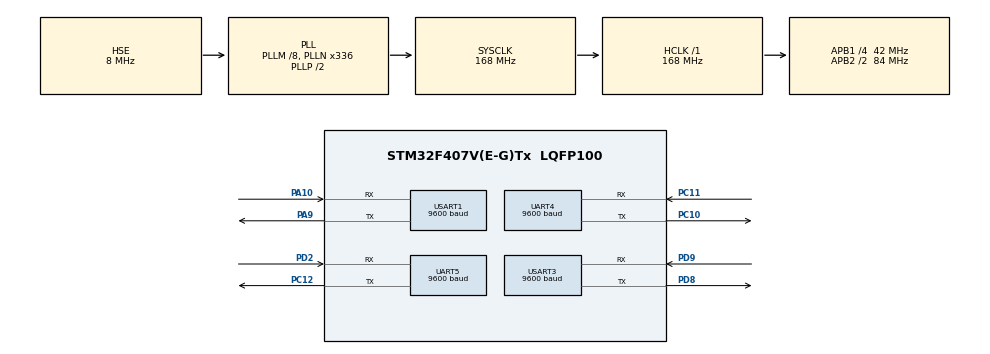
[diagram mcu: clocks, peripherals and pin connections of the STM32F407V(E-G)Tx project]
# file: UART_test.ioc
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Dma.Request0=USART1_RX
Dma.Request1=USART3_RX
Dma.Request2=UART4_RX
Dma.Request3=UART5_RX
Dma.UART4_RX.2.Direction=DMA_PERIPH_TO_MEMORY
Dma.UART4_RX.2.FIFOMode=DMA_FIFOMODE_DISABLE
Dma.UART4_RX.2.Instance=DMA1_Stream2
Dma.UART4_RX.2.MemDataAlignment=DMA_MDATAALIGN_BYTE
Dma.UART4_RX.2.MemInc=DMA_MINC_ENABLE
Dma.UART4_RX.2.Mode=DMA_NORMAL
Dma.UART4_RX.2.PeriphDataAlignment=DMA_PDATAALIGN_BYTE
Dma.UART4_RX.2.PeriphInc=DMA_PINC_DISABLE
Dma.UART4_RX.2.Priority=DMA_PRIORITY_LOW
Dma.UART5_RX.3.Direction=DMA_PERIPH_TO_MEMORY
Dma.UART5_RX.3.FIFOMode=DMA_FIFOMODE_DISABLE
Dma.UART5_RX.3.Instance=DMA1_Stream0
Dma.UART5_RX.3.MemDataAlignment=DMA_MDATAALIGN_BYTE
Dma.UART5_RX.3.MemInc=DMA_MINC_ENABLE
Dma.UART5_RX.3.Mode=DMA_NORMAL
Dma.UART5_RX.3.PeriphDataAlignment=DMA_PDATAALIGN_BYTE
Dma.UART5_RX.3.PeriphInc=DMA_PINC_DISABLE
Dma.UART5_RX.3.Priority=DMA_PRIORITY_LOW
Dma.USART1_RX.0.Direction=DMA_PERIPH_TO_MEMORY
Dma.USART1_RX.0.FIFOMode=DMA_FIFOMODE_DISABLE
Dma.USART1_RX.0.Instance=DMA2_Stream2
Dma.USART1_RX.0.MemDataAlignment=DMA_MDATAALIGN_BYTE
Dma.USART1_RX.0.MemInc=DMA_MINC_ENABLE
Dma.USART1_RX.0.Mode=DMA_NORMAL
Dma.USART1_RX.0.PeriphDataAlignment=DMA_PDATAALIGN_BYTE
Dma.USART1_RX.0.PeriphInc=DMA_PINC_DISABLE
Dma.USART1_RX.0.Priority=DMA_PRIORITY_LOW
Dma.USART3_RX.1.Direction=DMA_PERIPH_TO_MEMORY
Dma.USART3_RX.1.FIFOMode=DMA_FIFOMODE_DISABLE
Dma.USART3_RX.1.Instance=DMA1_Stream1
Dma.USART3_RX.1.MemDataAlignment=DMA_MDATAALIGN_BYTE
Dma.USART3_RX.1.MemInc=DMA_MINC_ENABLE
Dma.USART3_RX.1.Mode=DMA_NORMAL
Dma.USART3_RX.1.PeriphDataAlignment=DMA_PDATAALIGN_BYTE
Dma.USART3_RX.1.PeriphInc=DMA_PINC_DISABLE
Dma.USART3_RX.1.Priority=DMA_PRIORITY_LOW
Mcu.Family=STM32F4
Mcu.Name=STM32F407V(E-G)Tx
Mcu.Package=LQFP100
NVIC.DMA1_Stream0_IRQn=true\:0\:0\:false\:false\:true\:false\:true\:true
NVIC.DMA1_Stream1_IRQn=true\:0\:0\:false\:false\:true\:false\:true\:true
NVIC.DMA1_Stream2_IRQn=true\:0\:0\:false\:false\:true\:false\:true\:true
NVIC.DMA2_Stream2_IRQn=true\:0\:0\:false\:false\:true\:false\:true\:true
NVIC.PriorityGroup=NVIC_PRIORITYGROUP_0
PA10.Mode=Asynchronous
PA10.Signal=USART1_RX
PA9.Mode=Asynchronous
PA9.Signal=USART1_TX
PC10.Mode=Asynchronous
PC10.Signal=UART4_TX
PC11.Mode=Asynchronous
PC11.Signal=UART4_RX
PC12.Mode=Asynchronous
PC12.Signal=UART5_TX
PD2.Mode=Asynchronous
PD2.Signal=UART5_RX
PD8.Mode=Asynchronous
PD8.Signal=USART3_TX
PD9.Mode=Asynchronous
PD9.Signal=USART3_RX
PH0-OSC_IN.Mode=HSE-External-Oscillator
PH0-OSC_IN.Signal=RCC_OSC_IN
PH1-OSC_OUT.Mode=HSE-External-Oscillator
PH1-OSC_OUT.Signal=RCC_OSC_OUT
ProjectManager.HeapSize=0x200
ProjectManager.StackSize=0x400
ProjectManager.TargetToolchain=STM32CubeIDE
RCC.48MHZClocksFreq_Value=48000000
RCC.AHBFreq_Value=168000000
RCC.APB1CLKDivider=RCC_HCLK_DIV4
RCC.APB1Freq_Value=42000000
RCC.APB1TimFreq_Value=84000000
RCC.APB2CLKDivider=RCC_HCLK_DIV2
RCC.APB2Freq_Value=84000000
RCC.APB2TimFreq_Value=168000000
RCC.CortexFreq_Value=168000000
RCC.HCLKFreq_Value=168000000
RCC.HSE_VALUE=8000000
RCC.HSI_VALUE=16000000
RCC.LSE_VALUE=32768
RCC.PLLM=8
RCC.PLLN=336
RCC.PLLQ=7
RCC.PLLSourceVirtual=RCC_PLLSOURCE_HSE
RCC.SYSCLKFreq_VALUE=168000000
RCC.SYSCLKSource=RCC_SYSCLKSOURCE_PLLCLK
RCC.VCOOutputFreq_Value=336000000
UART4.BaudRate=9600
UART4.VirtualMode=Asynchronous
UART5.BaudRate=9600
UART5.VirtualMode=Asynchronous
USART1.BaudRate=9600
USART1.VirtualMode=VM_ASYNC
USART3.BaudRate=9600
USART3.VirtualMode=VM_ASYNC
board=STM32F407G-DISC1

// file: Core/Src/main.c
/* USER CODE BEGIN Header */
/**
 ******************************************************************************
 * @file           : main.c
 * @brief          : Main program body
 ******************************************************************************
 * @attention
 *
 * Copyright (c) 2022 STMicroelectronics.
 * All rights reserved.
 *
 * This software is licensed under terms that can be found in the LICENSE file
 * in the root directory of this software component.
 * If no LICENSE file comes with this software, it is provided AS-IS.
 *
 ******************************************************************************
 */
/* USER CODE END Header */
#include "main.h"

UART_HandleTypeDef huart4;
UART_HandleTypeDef huart5;
UART_HandleTypeDef huart1;
UART_HandleTypeDef huart3;
DMA_HandleTypeDef hdma_uart4_rx;
DMA_HandleTypeDef hdma_uart5_rx;
DMA_HandleTypeDef hdma_usart1_rx;
DMA_HandleTypeDef hdma_usart3_rx;

void SystemClock_Config(void);
static void MX_GPIO_Init(void);
static void MX_DMA_Init(void);
static void MX_USART1_UART_Init(void);
static void MX_USART3_UART_Init(void);
static void MX_UART4_Init(void);
static void MX_UART5_Init(void);

/* USER CODE BEGIN 0 */
uint8_t checkchar[5] = { 'U', 'A', 'R', 'T', '1' };
uint8_t inarray[5];
uint8_t outarray[13];
uint8_t uartchannel = 3;
int datareceiveflag = 0;
void channelchange() {
	for (int i = 0; i < 4; i++) {
		/*
		if (checkchar[i] != inarray[i] || (checkchar[i] - 32) != inarray[i]) {
			return;
		}
	}*/
	}
	uartchannel = inarray[4] - 48;

}

void HAL_UART_RxCpltCallback(UART_HandleTypeDef *huart) {

	datareceiveflag = 1;

}
/* USER CODE END 0 */

int main(void)
{

  /* MCU Configuration--------------------------------------------------------*/

  /* Reset of all peripherals, Initializes the Flash interface and the Systick. */
  HAL_Init();

  /* Configure the system clock */
  SystemClock_Config();

  /* Initialize all configured peripherals */
  MX_GPIO_Init();
  MX_DMA_Init();
  MX_USART1_UART_Init();
  MX_USART3_UART_Init();
  MX_UART4_Init();
  MX_UART5_Init();
  /* USER CODE BEGIN 2 */
	HAL_UART_Receive_DMA(&huart3, inarray, 5);

  /* USER CODE END 2 */

  /* Infinite loop */
	while (1) {

    /* USER CODE BEGIN 3 */

		if (datareceiveflag == 1) {
			for (int i = 0; i < 5; i++) {
				outarray[i] = inarray[i];
			}
			outarray[5] = 'F';
			outarray[6] = 'O';
			outarray[7] = 'T';
			outarray[8] = 'O';
			outarray[9] = 'N';
			outarray[10] = 'I';
			outarray[11] = 'K';
			outarray[12] = 'S';

			if (inarray[4] == '1' || inarray[4] == '4' || inarray[4] == '3'
					|| inarray[4] == '5') {
				channelchange();

			}

			if (uartchannel == 1) {
				HAL_UART_Transmit(&huart1, outarray, 13, 1000);
				HAL_UART_Receive_DMA(&huart1, inarray, 5);
			}
			else if (uartchannel == 3) {
				HAL_UART_Transmit(&huart3, outarray, 13, 1000);
				HAL_UART_Receive_DMA(&huart3, inarray, 5);
			}
			else if (uartchannel == 4) {
				HAL_UART_Transmit(&huart4, outarray, 13, 1000);
				HAL_UART_Receive_DMA(&huart4, inarray, 5);
			}
			else if (uartchannel == 5) {
				HAL_UART_Transmit(&huart5, outarray, 13, 1000);
				HAL_UART_Receive_DMA(&huart5, inarray, 5);
			}
			datareceiveflag = 0;

		}

  /* USER CODE END 3 */
	}
}

void SystemClock_Config(void)
{
  RCC_OscInitTypeDef RCC_OscInitStruct = {0};
  RCC_ClkInitTypeDef RCC_ClkInitStruct = {0};

  /** Configure the main internal regulator output voltage
  */
  __HAL_RCC_PWR_CLK_ENABLE();
  __HAL_PWR_VOLTAGESCALING_CONFIG(PWR_REGULATOR_VOLTAGE_SCALE1);

  /** Initializes the RCC Oscillators according to the specified parameters
  * in the RCC_OscInitTypeDef structure.
  */
  RCC_OscInitStruct.OscillatorType = RCC_OSCILLATORTYPE_HSE;
  RCC_OscInitStruct.HSEState = RCC_HSE_ON;
  RCC_OscInitStruct.PLL.PLLState = RCC_PLL_ON;
  RCC_OscInitStruct.PLL.PLLSource = RCC_PLLSOURCE_HSE;
  RCC_OscInitStruct.PLL.PLLM = 8;
  RCC_OscInitStruct.PLL.PLLN = 336;
  RCC_OscInitStruct.PLL.PLLP = RCC_PLLP_DIV2;
  RCC_OscInitStruct.PLL.PLLQ = 7;
  if (HAL_RCC_OscConfig(&RCC_OscInitStruct) != HAL_OK)
  {
    Error_Handler();
  }

  /** Initializes the CPU, AHB and APB buses clocks
  */
  RCC_ClkInitStruct.ClockType = RCC_CLOCKTYPE_HCLK|RCC_CLOCKTYPE_SYSCLK
                              |RCC_CLOCKTYPE_PCLK1|RCC_CLOCKTYPE_PCLK2;
  RCC_ClkInitStruct.SYSCLKSource = RCC_SYSCLKSOURCE_PLLCLK;
  RCC_ClkInitStruct.AHBCLKDivider = RCC_SYSCLK_DIV1;
  RCC_ClkInitStruct.APB1CLKDivider = RCC_HCLK_DIV4;
  RCC_ClkInitStruct.APB2CLKDivider = RCC_HCLK_DIV2;

  if (HAL_RCC_ClockConfig(&RCC_ClkInitStruct, FLASH_LATENCY_5) != HAL_OK)
  {
    Error_Handler();
  }
}

static void MX_UART4_Init(void)
{

  huart4.Instance = UART4;
  huart4.Init.BaudRate = 9600;
  huart4.Init.WordLength = UART_WORDLENGTH_8B;
  huart4.Init.StopBits = UART_STOPBITS_1;
  huart4.Init.Parity = UART_PARITY_NONE;
  huart4.Init.Mode = UART_MODE_TX_RX;
  huart4.Init.HwFlowCtl = UART_HWCONTROL_NONE;
  huart4.Init.OverSampling = UART_OVERSAMPLING_16;
  if (HAL_UART_Init(&huart4) != HAL_OK)
  {
    Error_Handler();
  }

}

static void MX_UART5_Init(void)
{

  huart5.Instance = UART5;
  huart5.Init.BaudRate = 9600;
  huart5.Init.WordLength = UART_WORDLENGTH_8B;
  huart5.Init.StopBits = UART_STOPBITS_1;
  huart5.Init.Parity = UART_PARITY_NONE;
  huart5.Init.Mode = UART_MODE_TX_RX;
  huart5.Init.HwFlowCtl = UART_HWCONTROL_NONE;
  huart5.Init.OverSampling = UART_OVERSAMPLING_16;
  if (HAL_UART_Init(&huart5) != HAL_OK)
  {
    Error_Handler();
  }

}

static void MX_USART1_UART_Init(void)
{

  huart1.Instance = USART1;
  huart1.Init.BaudRate = 9600;
  huart1.Init.WordLength = UART_WORDLENGTH_8B;
  huart1.Init.StopBits = UART_STOPBITS_1;
  huart1.Init.Parity = UART_PARITY_NONE;
  huart1.Init.Mode = UART_MODE_TX_RX;
  huart1.Init.HwFlowCtl = UART_HWCONTROL_NONE;
  huart1.Init.OverSampling = UART_OVERSAMPLING_16;
  if (HAL_UART_Init(&huart1) != HAL_OK)
  {
    Error_Handler();
  }

}

static void MX_USART3_UART_Init(void)
{

  huart3.Instance = USART3;
  huart3.Init.BaudRate = 9600;
  huart3.Init.WordLength = UART_WORDLENGTH_8B;
  huart3.Init.StopBits = UART_STOPBITS_1;
  huart3.Init.Parity = UART_PARITY_NONE;
  huart3.Init.Mode = UART_MODE_TX_RX;
  huart3.Init.HwFlowCtl = UART_HWCONTROL_NONE;
  huart3.Init.OverSampling = UART_OVERSAMPLING_16;
  if (HAL_UART_Init(&huart3) != HAL_OK)
  {
    Error_Handler();
  }

}

static void MX_DMA_Init(void)
{

  /* DMA controller clock enable */
  __HAL_RCC_DMA2_CLK_ENABLE();
  __HAL_RCC_DMA1_CLK_ENABLE();

  /* DMA interrupt init */
  /* DMA1_Stream0_IRQn interrupt configuration */
  HAL_NVIC_SetPriority(DMA1_Stream0_IRQn, 0, 0);
  HAL_NVIC_EnableIRQ(DMA1_Stream0_IRQn);
  /* DMA1_Stream1_IRQn interrupt configuration */
  HAL_NVIC_SetPriority(DMA1_Stream1_IRQn, 0, 0);
  HAL_NVIC_EnableIRQ(DMA1_Stream1_IRQn);
  /* DMA1_Stream2_IRQn interrupt configuration */
  HAL_NVIC_SetPriority(DMA1_Stream2_IRQn, 0, 0);
  HAL_NVIC_EnableIRQ(DMA1_Stream2_IRQn);
  /* DMA2_Stream2_IRQn interrupt configuration */
  HAL_NVIC_SetPriority(DMA2_Stream2_IRQn, 0, 0);
  HAL_NVIC_EnableIRQ(DMA2_Stream2_IRQn);

}

static void MX_GPIO_Init(void)
{

  /* GPIO Ports Clock Enable */
  __HAL_RCC_GPIOH_CLK_ENABLE();
  __HAL_RCC_GPIOD_CLK_ENABLE();
  __HAL_RCC_GPIOA_CLK_ENABLE();
  __HAL_RCC_GPIOC_CLK_ENABLE();

}

void Error_Handler(void)
{
	__disable_irq();
	while (1) {
	}
}
